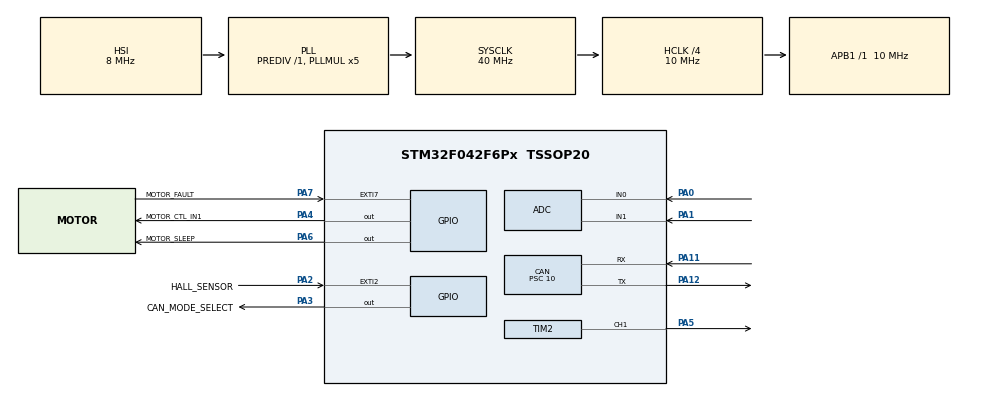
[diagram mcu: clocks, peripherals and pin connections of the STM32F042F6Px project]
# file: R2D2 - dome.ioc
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CAN.BS1=CAN_BS1_11TQ
CAN.BS2=CAN_BS2_8TQ
CAN.CalculateBaudRate=50000
CAN.CalculateTimeBit=20000
CAN.CalculateTimeQuantum=1000.0
CAN.Mode=CAN_MODE_NORMAL
CAN.Prescaler=10
Mcu.Family=STM32F0
Mcu.Name=STM32F042F6Px
Mcu.Package=TSSOP20
NVIC.CEC_CAN_IRQn=true\:1\:0\:true\:false\:true\:true\:true\:true
PA0.Mode=IN0
PA0.Signal=ADC_IN0
PA1.Mode=IN1
PA1.Signal=ADC_IN1
PA11.GPIO_PuPd=GPIO_PULLUP
PA11.Mode=CAN_Activate
PA11.Signal=CAN_RX
PA12.Mode=CAN_Activate
PA12.Signal=CAN_TX
PA13.Mode=Serial_Wire
PA13.Signal=SYS_SWDIO
PA14.Mode=Serial_Wire
PA14.Signal=SYS_SWCLK
PA2.GPIO_Label=HALL_SENSOR
PA2.Signal=GPXTI2
PA3.GPIO_Label=CAN_MODE_SELECT
PA3.Signal=GPIO_Output
PA4.GPIO_Label=MOTOR_CTL_IN1
PA4.PinState=GPIO_PIN_SET
PA4.Signal=GPIO_Output
PA5.Signal=S_TIM2_CH1_ETR
PA6.GPIO_Label=MOTOR_SLEEP
PA6.PinState=GPIO_PIN_SET
PA6.Signal=GPIO_Output
PA7.GPIO_Label=MOTOR_FAULT
PA7.Signal=GPXTI7
ProjectManager.HeapSize=0x200
ProjectManager.StackSize=0x400
ProjectManager.TargetToolchain=STM32CubeIDE
RCC.AHBCLKDivider=RCC_SYSCLK_DIV4
RCC.AHBFreq_Value=10000000
RCC.APB1Freq_Value=10000000
RCC.APB1TimFreq_Value=10000000
RCC.HCLKFreq_Value=10000000
RCC.PLLMUL=RCC_PLL_MUL5
RCC.SYSCLKFreq_VALUE=40000000
RCC.SYSCLKSource=RCC_SYSCLKSOURCE_PLLCLK
SH.S_TIM2_CH1_ETR.0=TIM2_CH1,PWM Generation1 CH1
TIM2.AutoReloadPreload=TIM_AUTORELOAD_PRELOAD_ENABLE
TIM2.Channel-PWM\ Generation1\ CH1=TIM_CHANNEL_1
TIM2.Period=1000-1
TIM2.Pulse-PWM\ Generation1\ CH1=0
VP_SYS_VS_PINREMAP.Mode=PINREMAP
VP_TIM2_VS_ClockSourceINT.Mode=Internal
board=custom

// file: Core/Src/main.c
/* USER CODE BEGIN Header */
/**
  ******************************************************************************
  * @file           : main.c
  * @brief          : Main program body
  ******************************************************************************
  * @attention
  *
  * Copyright (c) 2024 STMicroelectronics.
  * All rights reserved.
  *
  * This software is licensed under terms that can be found in the LICENSE file
  * in the root directory of this software component.
  * If no LICENSE file comes with this software, it is provided AS-IS.
  *
  ******************************************************************************
  */
/* USER CODE END Header */
#include "main.h"

ADC_HandleTypeDef hadc;

CAN_HandleTypeDef hcan;

TIM_HandleTypeDef htim2;

/* USER CODE BEGIN PV */
CAN_TxHeaderTypeDef   TxHeader;
uint8_t               TxData[8];
uint32_t              TxMailbox;

CAN_RxHeaderTypeDef   RxHeader;
uint8_t               RxData[8];

uint32_t datacheck;
/* USER CODE END PV */

void SystemClock_Config(void);
static void MX_GPIO_Init(void);
static void MX_ADC_Init(void);
static void MX_TIM2_Init(void);
static void MX_CAN_Init(void);

int main(void)
{

  /* MCU Configuration--------------------------------------------------------*/

  /* Reset of all peripherals, Initializes the Flash interface and the Systick. */
  HAL_Init();

  /* Configure the system clock */
  SystemClock_Config();

  /* Initialize all configured peripherals */
  MX_GPIO_Init();
  MX_ADC_Init();
  MX_TIM2_Init();
  MX_CAN_Init();
  /* USER CODE BEGIN 2 */
  HAL_TIM_PWM_Start(&htim2, TIM_CHANNEL_1);

  TxHeader.IDE = CAN_ID_STD;
  TxHeader.StdId = 0x446;
  TxHeader.RTR = CAN_RTR_DATA;
  TxHeader.DLC = 2;

  TxData[0] = 50;
  TxData[1] = 0xAA;

  if (HAL_CAN_Start(&hcan) != HAL_OK){
	  Error_Handler();
  }

  if (HAL_CAN_ActivateNotification(&hcan, CAN_IT_RX_FIFO0_MSG_PENDING) != HAL_OK)
  {
	  Error_Handler();
  }

  datacheck = 3;

  /* USER CODE END 2 */

  /* Infinite loop */
  /* USER CODE BEGIN WHILE */
  while (1)
  {
//	  if (HAL_CAN_AddTxMessage(&hcan, &TxHeader, TxData, &TxMailbox) != HAL_OK)
//	  {
//	     Error_Handler ();
//	  }
//	  HAL_Delay(10);
    /* USER CODE END WHILE */

  }
}

void SystemClock_Config(void)
{
  RCC_OscInitTypeDef RCC_OscInitStruct = {0};
  RCC_ClkInitTypeDef RCC_ClkInitStruct = {0};

  /** Initializes the RCC Oscillators according to the specified parameters
  * in the RCC_OscInitTypeDef structure.
  */
  RCC_OscInitStruct.OscillatorType = RCC_OSCILLATORTYPE_HSI|RCC_OSCILLATORTYPE_HSI14;
  RCC_OscInitStruct.HSIState = RCC_HSI_ON;
  RCC_OscInitStruct.HSI14State = RCC_HSI14_ON;
  RCC_OscInitStruct.HSICalibrationValue = RCC_HSICALIBRATION_DEFAULT;
  RCC_OscInitStruct.HSI14CalibrationValue = 16;
  RCC_OscInitStruct.PLL.PLLState = RCC_PLL_ON;
  RCC_OscInitStruct.PLL.PLLSource = RCC_PLLSOURCE_HSI;
  RCC_OscInitStruct.PLL.PLLMUL = RCC_PLL_MUL5;
  RCC_OscInitStruct.PLL.PREDIV = RCC_PREDIV_DIV1;
  if (HAL_RCC_OscConfig(&RCC_OscInitStruct) != HAL_OK)
  {
    Error_Handler();
  }

  /** Initializes the CPU, AHB and APB buses clocks
  */
  RCC_ClkInitStruct.ClockType = RCC_CLOCKTYPE_HCLK|RCC_CLOCKTYPE_SYSCLK
                              |RCC_CLOCKTYPE_PCLK1;
  RCC_ClkInitStruct.SYSCLKSource = RCC_SYSCLKSOURCE_PLLCLK;
  RCC_ClkInitStruct.AHBCLKDivider = RCC_SYSCLK_DIV4;
  RCC_ClkInitStruct.APB1CLKDivider = RCC_HCLK_DIV1;

  if (HAL_RCC_ClockConfig(&RCC_ClkInitStruct, FLASH_LATENCY_1) != HAL_OK)
  {
    Error_Handler();
  }
}

static void MX_ADC_Init(void)
{

  ADC_ChannelConfTypeDef sConfig = {0};

  /** Configure the global features of the ADC (Clock, Resolution, Data Alignment and number of conversion)
  */
  hadc.Instance = ADC1;
  hadc.Init.ClockPrescaler = ADC_CLOCK_ASYNC_DIV1;
  hadc.Init.Resolution = ADC_RESOLUTION_12B;
  hadc.Init.DataAlign = ADC_DATAALIGN_RIGHT;
  hadc.Init.ScanConvMode = ADC_SCAN_DIRECTION_FORWARD;
  hadc.Init.EOCSelection = ADC_EOC_SINGLE_CONV;
  hadc.Init.LowPowerAutoWait = DISABLE;
  hadc.Init.LowPowerAutoPowerOff = DISABLE;
  hadc.Init.ContinuousConvMode = DISABLE;
  hadc.Init.DiscontinuousConvMode = DISABLE;
  hadc.Init.ExternalTrigConv = ADC_SOFTWARE_START;
  hadc.Init.ExternalTrigConvEdge = ADC_EXTERNALTRIGCONVEDGE_NONE;
  hadc.Init.DMAContinuousRequests = DISABLE;
  hadc.Init.Overrun = ADC_OVR_DATA_PRESERVED;
  if (HAL_ADC_Init(&hadc) != HAL_OK)
  {
    Error_Handler();
  }

  /** Configure for the selected ADC regular channel to be converted.
  */
  sConfig.Channel = ADC_CHANNEL_0;
  sConfig.Rank = ADC_RANK_CHANNEL_NUMBER;
  sConfig.SamplingTime = ADC_SAMPLETIME_1CYCLE_5;
  if (HAL_ADC_ConfigChannel(&hadc, &sConfig) != HAL_OK)
  {
    Error_Handler();
  }

  /** Configure for the selected ADC regular channel to be converted.
  */
  sConfig.Channel = ADC_CHANNEL_1;
  if (HAL_ADC_ConfigChannel(&hadc, &sConfig) != HAL_OK)
  {
    Error_Handler();
  }

}

static void MX_CAN_Init(void)
{

  hcan.Instance = CAN;
  hcan.Init.Prescaler = 10;
  hcan.Init.Mode = CAN_MODE_NORMAL;
  hcan.Init.SyncJumpWidth = CAN_SJW_1TQ;
  hcan.Init.TimeSeg1 = CAN_BS1_11TQ;
  hcan.Init.TimeSeg2 = CAN_BS2_8TQ;
  hcan.Init.TimeTriggeredMode = DISABLE;
  hcan.Init.AutoBusOff = DISABLE;
  hcan.Init.AutoWakeUp = DISABLE;
  hcan.Init.AutoRetransmission = DISABLE;
  hcan.Init.ReceiveFifoLocked = DISABLE;
  hcan.Init.TransmitFifoPriority = DISABLE;
  if (HAL_CAN_Init(&hcan) != HAL_OK)
  {
    Error_Handler();
  }
  /* USER CODE BEGIN CAN_Init 2 */
  CAN_FilterTypeDef canfilterconfig;

  canfilterconfig.FilterBank = 0; // Use filter bank 0
  canfilterconfig.FilterMode = CAN_FILTERMODE_IDLIST; // Mask mode
  canfilterconfig.FilterScale = CAN_FILTERSCALE_16BIT;
  canfilterconfig.FilterIdHigh = (0x11 << 5); // 11-bit ID shifted to high register
  canfilterconfig.FilterIdLow = (0x11 << 5); // 11-bit ID shifted to low register
  canfilterconfig.FilterMaskIdHigh = (0x11 << 5); // Exact match for ID
  canfilterconfig.FilterMaskIdLow = (0x11 << 5); // Exact match for ID
  canfilterconfig.FilterFIFOAssignment = CAN_RX_FIFO0; // Use FIFO 0
  canfilterconfig.FilterActivation = ENABLE;

  HAL_CAN_ConfigFilter(&hcan, &canfilterconfig);
  /* USER CODE END CAN_Init 2 */

}

static void MX_TIM2_Init(void)
{

  TIM_ClockConfigTypeDef sClockSourceConfig = {0};
  TIM_MasterConfigTypeDef sMasterConfig = {0};
  TIM_OC_InitTypeDef sConfigOC = {0};

  htim2.Instance = TIM2;
  htim2.Init.Prescaler = 0;
  htim2.Init.CounterMode = TIM_COUNTERMODE_UP;
  htim2.Init.Period = 1000-1;
  htim2.Init.ClockDivision = TIM_CLOCKDIVISION_DIV1;
  htim2.Init.AutoReloadPreload = TIM_AUTORELOAD_PRELOAD_ENABLE;
  if (HAL_TIM_Base_Init(&htim2) != HAL_OK)
  {
    Error_Handler();
  }
  sClockSourceConfig.ClockSource = TIM_CLOCKSOURCE_INTERNAL;
  if (HAL_TIM_ConfigClockSource(&htim2, &sClockSourceConfig) != HAL_OK)
  {
    Error_Handler();
  }
  if (HAL_TIM_PWM_Init(&htim2) != HAL_OK)
  {
    Error_Handler();
  }
  sMasterConfig.MasterOutputTrigger = TIM_TRGO_RESET;
  sMasterConfig.MasterSlaveMode = TIM_MASTERSLAVEMODE_DISABLE;
  if (HAL_TIMEx_MasterConfigSynchronization(&htim2, &sMasterConfig) != HAL_OK)
  {
    Error_Handler();
  }
  sConfigOC.OCMode = TIM_OCMODE_PWM1;
  sConfigOC.Pulse = 0;
  sConfigOC.OCPolarity = TIM_OCPOLARITY_HIGH;
  sConfigOC.OCFastMode = TIM_OCFAST_DISABLE;
  if (HAL_TIM_PWM_ConfigChannel(&htim2, &sConfigOC, TIM_CHANNEL_1) != HAL_OK)
  {
    Error_Handler();
  }
  HAL_TIM_MspPostInit(&htim2);

}

static void MX_GPIO_Init(void)
{
  GPIO_InitTypeDef GPIO_InitStruct = {0};

  /* GPIO Ports Clock Enable */
  __HAL_RCC_GPIOA_CLK_ENABLE();

  /*Configure GPIO pin Output Level */
  HAL_GPIO_WritePin(CAN_MODE_SELECT_GPIO_Port, CAN_MODE_SELECT_Pin, GPIO_PIN_RESET);

  /*Configure GPIO pin Output Level */
  HAL_GPIO_WritePin(GPIOA, MOTOR_CTL_IN1_Pin|MOTOR_SLEEP_Pin, GPIO_PIN_SET);

  /*Configure GPIO pins : HALL_SENSOR_Pin MOTOR_FAULT_Pin */
  GPIO_InitStruct.Pin = HALL_SENSOR_Pin|MOTOR_FAULT_Pin;
  GPIO_InitStruct.Mode = GPIO_MODE_IT_RISING;
  GPIO_InitStruct.Pull = GPIO_NOPULL;
  HAL_GPIO_Init(GPIOA, &GPIO_InitStruct);

  /*Configure GPIO pins : CAN_MODE_SELECT_Pin MOTOR_CTL_IN1_Pin MOTOR_SLEEP_Pin */
  GPIO_InitStruct.Pin = CAN_MODE_SELECT_Pin|MOTOR_CTL_IN1_Pin|MOTOR_SLEEP_Pin;
  GPIO_InitStruct.Mode = GPIO_MODE_OUTPUT_PP;
  GPIO_InitStruct.Pull = GPIO_NOPULL;
  GPIO_InitStruct.Speed = GPIO_SPEED_FREQ_LOW;
  HAL_GPIO_Init(GPIOA, &GPIO_InitStruct);

}

/* USER CODE BEGIN 4 */
void HAL_CAN_RxFifo0MsgPendingCallback(CAN_HandleTypeDef *hcan)
{
  if (HAL_CAN_GetRxMessage(hcan, CAN_RX_FIFO0, &RxHeader, RxData) != HAL_OK)
  {
    Error_Handler();
  }
  datacheck = 1;
  if ((RxHeader.StdId != 0x12))
  {
	  datacheck = 2;
  }
}

void HAL_CAN_ErrorCallback(CAN_HandleTypeDef *hcan){
	Error_Handler();
}
/* USER CODE END 4 */

void Error_Handler(void)
{
  __disable_irq();
  while (1)
  {
  }
}
